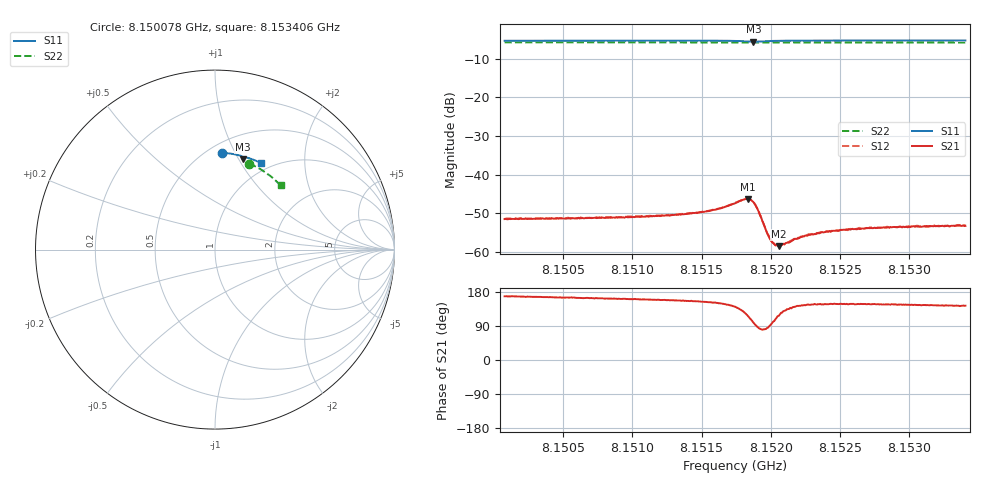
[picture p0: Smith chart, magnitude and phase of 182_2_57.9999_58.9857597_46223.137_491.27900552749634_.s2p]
#  HZ  S  RI  R  50.00
! Rohde & Schwarz Vector Network Analyzer
! Rohde-Schwarz,ZNB20-2Port,1311601062101988,3.16
! Created: UTC 3/21/2024, 12:58:22 AM
! freq[Hz]  re:S11  im:S11  re:S21  im:S21  re:S12  im:S12  re:S22  im:S22
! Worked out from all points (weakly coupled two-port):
!   401 points, 8.150078 GHz to 8.153406 GHz, reference 50 ohm
!   highest |S21| = -46.30 dB at 8.151833 GHz (marker M1); lowest = -58.5 dB at 8.152058 GHz (marker M2)
!   lowest |S11| = -5.6 dB at 8.151875 GHz (marker M3), VSWR 3.22, Z = 37.4 + j52 ohm
!   |S11| at or under -10 dB: nowhere
!   |S22| runs from -5.8 to -5.8 dB; largest |S21 - S12| = 0.00014
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8.1500782e9  0.0366 0.5393  -0.0026 0.00055  -0.00261 0.000617  0.1913 0.4788
8.1506355e9  0.0758 0.5361  -0.00261 0.000778  -0.00263 0.000829  0.224 0.4637
8.1511928e9  0.1149 0.5299  -0.00272 0.00105  -0.00274 0.00113  0.2555 0.4464
8.1513842e9  0.1287 0.5267  -0.00283 0.00124  -0.00281 0.0013  0.266 0.44
8.1515422e9  0.1405 0.5235  -0.00298 0.00152  -0.00297 0.00158  0.2745 0.4343
8.1516587e9  0.1498 0.5197  -0.00319 0.00198  -0.00318 0.00205  0.2808 0.43
8.1517418e9  0.1566 0.5149  -0.00328 0.00269  -0.00328 0.00279  0.2851 0.427
8.1518001e9  0.1598 0.5091  -0.00294 0.00369  -0.00291 0.00377  0.2882 0.4247
8.1518333e9  0.1592 0.5048  -0.0022 0.00431  -0.00216 0.00439  0.2896 0.4234
8.1518583e9  0.1567 0.5028  -0.00131 0.00448  -0.00126 0.00452  0.2908 0.4224
8.1518749e9  0.1546 0.5025  -0.000656 0.00435  -0.000606 0.00438  0.2917 0.4219
8.1519082e9  0.1516 0.5053  0.000254 0.00345  0.000284 0.00345  0.2931 0.4208
8.1519664e9  0.1539 0.5117  0.000256 0.00187  0.000274 0.00188  0.2963 0.419
8.1519914e9  0.1565 0.5133  -4.2e-06 0.00149  3.93e-05 0.00151  0.2975 0.4179
8.1520247e9  0.1598 0.5143  -0.000277 0.00123  -0.000258 0.00124  0.2994 0.4167
8.1520579e9  0.1631 0.5147  -0.000531 0.00106  -0.000565 0.00106  0.3012 0.4155
8.1521162e9  0.1686 0.5145  -0.000906 0.000944  -0.000904 0.000937  0.3042 0.4132
8.1521827e9  0.1741 0.5135  -0.00115 0.00091  -0.00116 0.000952  0.3077 0.4107
8.1522992e9  0.183 0.5113  -0.00141 0.000925  -0.00141 0.000966  0.3134 0.406
8.1525154e9  0.1985 0.5064  -0.00162 0.00103  -0.00162 0.00103  0.3241 0.3973
8.1528565e9  0.2212 0.4978  -0.00171 0.00113  -0.00171 0.00117  0.3405 0.3827
8.1534055e9  0.2561 0.4818  -0.00174 0.00129  -0.00173 0.00135  0.365 0.3581
